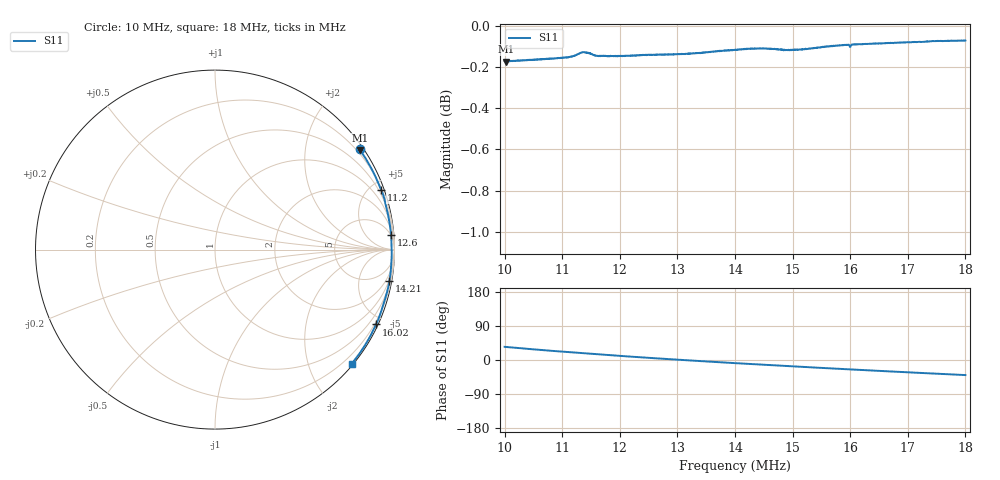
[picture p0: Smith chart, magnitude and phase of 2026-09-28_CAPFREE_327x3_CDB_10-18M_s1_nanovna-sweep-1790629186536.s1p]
! NanoVNA Web complex sweep
! Processing: unaveraged complex samples; linear segment spacing; no smoothing
# Hz S RI R 50
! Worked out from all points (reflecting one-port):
!   1010 points, 10 MHz to 18 MHz, reference 50 ohm
!   lowest |S11| = -0.2 dB at 10.02 MHz (marker M1), VSWR 100.59, Z = 5.67 + j161 ohm
!   phase of S11 starts at 35 deg and turns -75 deg over the sweep
!   S11 on the Smith chart (normalised r, x): 10 MHz: 0.11, +3.19; 11.2 MHz: 0.29, +5.73; 12.6 MHz: 5, +23; 14.21 MHz: 1, -11; 16.02 MHz: 0.11, -4.52; 18 MHz: 0.04, -2.76
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1e7  0.8056 0.5591
1.002379e7  0.8085 0.5543
1.028544e7  0.8413 0.5042
1.051538e7  0.8668 0.4603
1.075326e7  0.8898 0.4152
1.100698e7  0.9111 0.3675
1.119728e7  0.9254 0.3324
1.134e7  0.9364 0.3069
1.145101e7  0.9428 0.2857
1.162544e7  0.9503 0.2528
1.200604e7  0.9658 0.1845
1.233113e7  0.9754 0.1277
1.260071e7  0.9807 0.0814
1.300509e7  0.9843 0.0144
1.351255e7  0.9832 -0.0665
1.374249e7  0.9808 -0.1024
1.400414e7  0.9765 -0.1427
1.42103e7  0.9718 -0.1739
1.463846e7  0.9587 -0.2364
1.50032e7  0.9443 -0.2858
1.556616e7  0.9206 -0.3597
1.600225e7  0.8972 -0.4145
1.601811e7  0.8971 -0.4172
1.646214e7  0.8711 -0.4709
1.700131e7  0.8362 -0.5319
1.760391e7  0.7928 -0.5955
1.796072e7  0.7654 -0.6309
1.800036e7  0.7623 -0.6347
